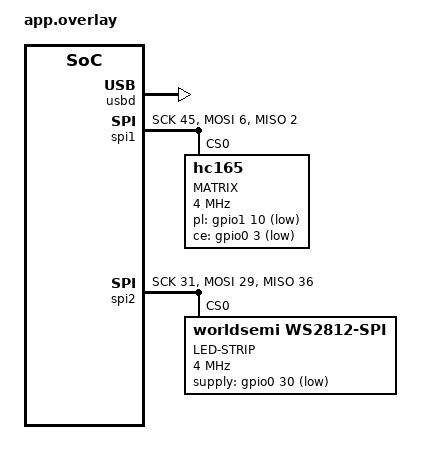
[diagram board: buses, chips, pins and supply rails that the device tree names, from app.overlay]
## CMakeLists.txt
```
#
# Copyright (c) 2021 Nordic Semiconductor
#
# SPDX-License-Identifier: LicenseRef-Nordic-5-Clause
#
cmake_minimum_required(VERSION 3.20.0)

# SET ROOT
set(BOARD_ROOT ${CMAKE_CURRENT_SOURCE_DIR}/..)
set(DTS_ROOT ${CMAKE_CURRENT_SOURCE_DIR}/..)

find_package(Zephyr REQUIRED HINTS $ENV{ZEPHYR_BASE})
project("Awang Keyboard")

# NORDIC SDK APP START
target_sources(app PRIVATE
  src/main.c
)
# NORDIC SDK APP END

# Include application events and configuration headers
zephyr_library_include_directories(
  src/events
  src/utils
)

zephyr_include_directories(
  configuration
)

# Application sources
add_subdirectory(src/events)
add_subdirectory(src/modules)
add_subdirectory(src/utils)
```

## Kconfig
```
#
# Copyright (c) 2021 Nordic Semiconductor ASA
#
# SPDX-License-Identifier: LicenseRef-Nordic-5-Clause
#

menu "Common Application Framework sample"
rsource "src/events/Kconfig"
# rsource "src/hw_interface/Kconfig"
rsource "src/modules/Kconfig"
endmenu

menu "Zephyr Kernel"
source "Kconfig.zephyr"
endmenu
```

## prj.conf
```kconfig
### system configuration ###
# c++ support
CONFIG_CPLUSPLUS=y
# heap memory size
CONFIG_HEAP_MEM_POOL_SIZE=4096
# log
CONFIG_LOG=y
CONFIG_USE_SEGGER_RTT=y


### Driver configuration ###
### these configurations are needed by different
### classes in src/
# Dirvers/Gpio
CONFIG_GPIO=y
# Dirvers/Nvs
CONFIG_FLASH=y
CONFIG_FLASH_PAGE_LAYOUT=y
CONFIG_NVS=y
CONFIG_MPU_ALLOW_FLASH_WRITE=y
# Dirvers/Usb
CONFIG_USB_DEVICE_STACK=y
CONFIG_USB_COMPOSITE_DEVICE=y
CONFIG_USB_HID_DEVICE_COUNT=1
CONFIG_USB_DEVICE_PRODUCT="Awang keyboard"
CONFIG_USB_DEVICE_MANUFACTURER="Nordic"
CONFIG_USB_DEVICE_VID=0x1915
CONFIG_USB_DEVICE_PID=0xEEEE
# Dirvers/Usb::Hid
CONFIG_USB_DEVICE_HID=y
# Dirvers/Usb::Cdc
CONFIG_SERIAL=y
CONFIG_UART_INTERRUPT_DRIVEN=y
CONFIG_UART_LINE_CTRL=y
# Keyboard/Led(ws2812 led strip)
CONFIG_SPI=y
CONFIG_LED_STRIP=y
CONFIG_WS2812_STRIP=y
# Keyboard/Matrix
CONFIG_SPI=y

### others ###
```

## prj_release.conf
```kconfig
#
# Copyright (c) 2021 Nordic Semiconductor
#
# SPDX-License-Identifier: LicenseRef-Nordic-5-Clause
#

# Dependencies for EVENT_MANAGER and CAF
CONFIG_LINKER_ORPHAN_SECTION_PLACE=y
CONFIG_EVENT_MANAGER_EVENT_LOG_BUF_LEN=0
CONFIG_HEAP_MEM_POOL_SIZE=2048

# Enable CAF
CONFIG_CAF=y

# Enable gpio
CONFIG_GPIO=y

# Enable SPI
CONFIG_SPI=y

# Enable led-strip and ws2812-strip
CONFIG_LED_STRIP=y
CONFIG_WS2812_STRIP=y

# Enale nvs
CONFIG_FLASH=y
CONFIG_FLASH_PAGE_LAYOUT=y
CONFIG_NVS=y
CONFIG_MPU_ALLOW_FLASH_WRITE=y

# Enable usb
CONFIG_USB_DEVICE_STACK=y
CONFIG_USB_COMPOSITE_DEVICE=y
CONFIG_USB_HID_DEVICE_COUNT=1
CONFIG_USB_DEVICE_PRODUCT="Awang keyboard"
CONFIG_USB_DEVICE_MANUFACTURER="Nordic"
CONFIG_USB_DEVICE_VID=0x1915
CONFIG_USB_DEVICE_PID=0xEEEE
CONFIG_USB_DEVICE_HID=y
CONFIG_SERIAL=y
CONFIG_UART_INTERRUPT_DRIVEN=y
CONFIG_UART_LINE_CTRL=y


# Application specific options

# Application module
# Awang-Clock
CONFIG_AWANG_CLOCK_ENABLE=y

# Awang-Matrix
CONFIG_AWANG_MATRIX_ENABLE=y

# Awang-Led
CONFIG_AWANG_LED_ENABLE=y

# Awang-usb
CONFIG_AWANG_USB_ENABLE=y
```

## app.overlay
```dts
#include <dt-bindings/led/led.h>

&gpio0 {
    status = "okay";
};

&gpio1 {
    status = "okay";
};

&usbd {
    status = "okay";
    cdc-acm-uart {
        compatible = "zephyr,cdc-acm-uart";
        label = "CDC-ACM-UART";
    };
};

&spi1 {
	status = "okay";
	sck-pin = <45>;
	miso-pin = <2>;
	mosi-pin = <6>;
	compatible = "nordic,nrf-spim";
	matrix: hc165@0 {
		compatible = "hc165";
		label = "MATRIX";

		/* SPI */
		reg = <0>; /* ignored, but necessary for SPI bindings */
		spi-max-frequency = <4000000>;

		/* 74HC165 */
		pl-gpios = <&gpio1 10 GPIO_ACTIVE_LOW>;
		ce-gpios = <&gpio0  3 GPIO_ACTIVE_LOW>;
		chain-length = <11>;
	};
};

&spi2 {
	status = "okay";
	sck-pin = <31>;
	mosi-pin = <29>; // used as ws2812 strip data
	miso-pin = <36>; // useless gpio
	compatible = "nordic,nrf-spim";
	led_strip: ws2812@0 {
		compatible = "worldsemi,ws2812-spi";
		label = "LED-STRIP";

		/* SPI */
		reg = <0>; /* ignored, but necessary for SPI bindings */
		spi-max-frequency = <4000000>;

		/* WS2812 */
		chain-length = <100>; /* arbitrary; change at will */
		color-mapping = <LED_COLOR_ID_GREEN LED_COLOR_ID_RED LED_COLOR_ID_BLUE>;
		spi-one-frame = <0x70>;
		spi-zero-frame = <0x40>;
		supply-gpios = <&gpio0 30 (GPIO_ACTIVE_LOW|GPIO_VOLTAGE_5P0)>;
	};
};
```

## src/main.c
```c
/*
 * Copyright (c) 2021 Nordic Semiconductor ASA
 *
 * SPDX-License-Identifier: LicenseRef-Nordic-5-Clause
 */
#include <event_manager.h>

#define MODULE main

#include <logging/log.h>
LOG_MODULE_REGISTER(MODULE);

#include "utils/flash_storage.h"
#include "config.h"

#include "keyboard_event.h"

struct config_set config;

void main(void)
{
	if(flash_storage_read(1, (uint8_t *)&config, sizeof config) < 0) {
		LOG_ERR("flash storage read failed");
	}

	if(!config.saved) {
		LOG_INF("choose the default config");
		config = default_config;
		flash_storage_write(1, (uint8_t *)&config, sizeof config);
	} else {
		LOG_INF("successfully read the configuration");
	}

	if (event_manager_init()) {
		LOG_ERR("Event manager not initialized");
	} else {
		trig_keyboard_event(KEYBOARD_EVENT_READY);
	}
}
```

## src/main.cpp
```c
#include <zephyr.h>
#include <logging/log.h>

#include "Config.h"
#include "Drivers/Nvs.hpp"
#include "Drivers/Timer.hpp"
#include "Drivers/Usb.hpp"
#include "Keyboard/Matrix.hpp"
#include "Keyboard/Led.hpp"

LOG_MODULE_REGISTER(main);

ConfigSet config;
Matrix matrix;
Usb usb;
Led led;

void OnTimerCallback(k_timer* timer_id);
void OnWorkCallback(k_work* work_id);

void LoadConfig() {
    Nvs nvs;
    nvs.Read(1, config);

    if(!config.saved) {
        LOG_INF("Unable to find saved config, choose the default config");
        config = defaultConfig;
        nvs.Write(1, config);
    }
}

/*
    uint32_t start = k_cycle_get_32();
    {


        
    }
    uint32_t stop = k_cycle_get_32();
    LOG_INF("time = %dns\n", (uint32_t)k_cyc_to_ns_floor64(stop - start));
*/

int main() {
    LoadConfig();

    matrix.Enable();
    usb.Enable();
    led.Enable();

    led.Set(0, 0, 255, 0);
    for(int i = 1 ; i <= 14; i++) {
        led.Set(i, (Led::Color)i);
    }

    for(;;) {
        k_sleep(K_SECONDS(1));
    }
}
```

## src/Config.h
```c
#pragma once
#ifdef __cplusplus
extern "C" {
#endif
/*---------------------------- C Scope ---------------------------*/
#include <stdint.h>
#include "./Keyboard/Keycode.h"
#include "./Keyboard/Matrix.hpp"

/*** User Config ***/
struct MatrixConfig {
    uint8_t keymap[Matrix::NUM_OF_LAYER][Matrix::NUM_OF_KEY];
};

struct ConfigSet {
    uint8_t saved;
    MatrixConfig matrix;
};

extern ConfigSet config;

static const ConfigSet defaultConfig = {
    .saved = 1,
    .matrix = {
        .keymap = {
            {
                KC_ESC,  KC_F1,   KC_F2,   KC_F3,   KC_F4,   KC_F5,   KC_F6,   KC_F7,   KC_F8,   KC_F9,   KC_F10,  KC_F11,  KC_F12,  KC_PRSC,
                KC_GRV,  KC_1,    KC_2,    KC_3,    KC_4,    KC_5,    KC_6,    KC_7,    KC_8,    KC_9,    KC_0,    KC_MINS, KC_EQUL, KC_BSPC, KC_INS,
                KC_TAB,  KC_Q,    KC_W,    KC_E,    KC_R,    KC_T,    KC_Y,    KC_U,    KC_I,    KC_O,    KC_P,    KC_LBRC, KC_RBRC, KC_BSLS, KC_DEL,
                KC_CAPL, KC_A,    KC_S,    KC_D,    KC_F,    KC_G,    KC_H,    KC_J,    KC_K,    KC_L,    KC_SCLN, KC_QUOT, KC_ENT,  KC_HOME,
                KC_LSFT, KC_Z,    KC_X,    KC_C,    KC_V,    KC_B,    KC_N,    KC_M,    KC_COMM, KC_DOT,  KC_SLSH, KC_RSFT, KC_UP,   KC_END,
                KC_LCTL, KC_LGUI, KC_LALT, KC_SPC,  KC_BSPC, KC_RALT, KC_FN,   KC_RCTL, KC_LEFT, KC_DOWN, KC_RIGT
            },
            {
                KC_TRNS, KC_TRNS, KC_TRNS, KC_TRNS, KC_TRNS, KC_TRNS, KC_TRNS, KC_TRNS, KC_TRNS, KC_TRNS, KC_TRNS, KC_TRNS, KC_TRNS, KC_TRNS,
                KC_TRNS, KC_TRNS, KC_TRNS, KC_TRNS, KC_TRNS, KC_TRNS, KC_TRNS, KC_TRNS, KC_TRNS, KC_TRNS, KC_TRNS, KC_TRNS, KC_TRNS, KC_TRNS, KC_TRNS,
                KC_TRNS, KC_TRNS, KC_TRNS, KC_TRNS, KC_TRNS, KC_TRNS, KC_TRNS, KC_TRNS, KC_TRNS, KC_TRNS, KC_TRNS, KC_TRNS, KC_TRNS, KC_TRNS, KC_TRNS,
                KC_TRNS, KC_TRNS, KC_TRNS, KC_TRNS, KC_TRNS, KC_TRNS, KC_TRNS, KC_TRNS, KC_TRNS, KC_TRNS, KC_TRNS, KC_TRNS, KC_TRNS, KC_TRNS,
                KC_TRNS, KC_TRNS, KC_TRNS, KC_TRNS, KC_TRNS, KC_TRNS, KC_TRNS, KC_TRNS, KC_TRNS, KC_TRNS, KC_TRNS, KC_TRNS, KC_TRNS, KC_TRNS,
                KC_TRNS, KC_TRNS, KC_TRNS, KC_TRNS, KC_TRNS, KC_TRNS, KC_TRNS, KC_TRNS, KC_TRNS, KC_TRNS, KC_TRNS
            }
        },
    }
};

#ifdef __cplusplus
}
/*---------------------------- C++ Scope ---------------------------*/

#endif
```
